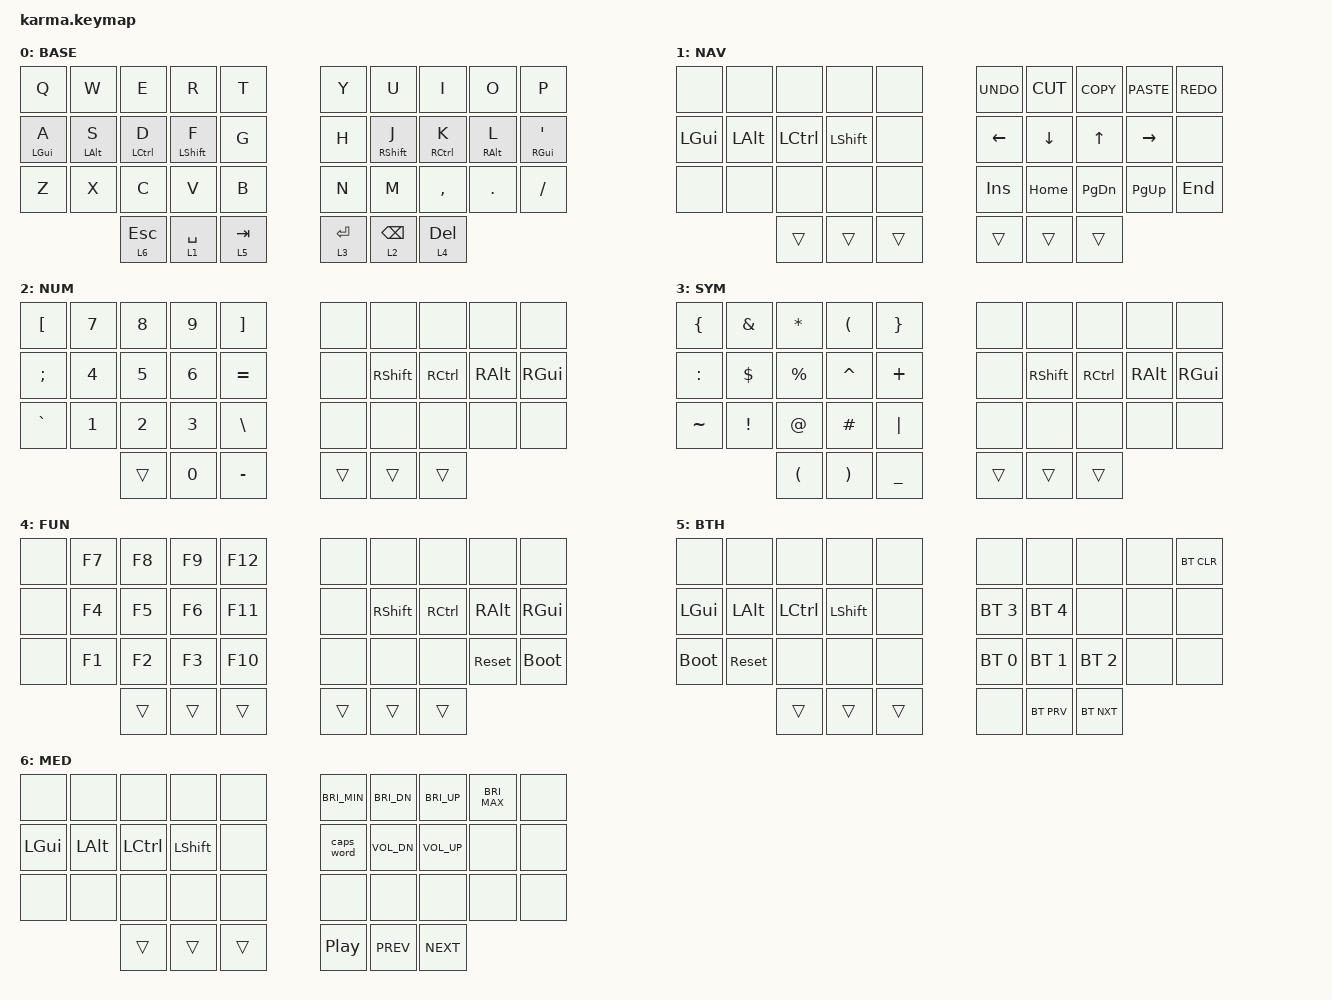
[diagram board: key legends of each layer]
#include <behaviors.dtsi>
#include <dt-bindings/zmk/bt.h>
#include <dt-bindings/zmk/keys.h>

#define ABC 0
#define NUM 1
#define SYM 2
#define FUN 3
#define NAV 4
#define MED 5
#define OPR 6

&mt {
    flavor = "balanced";
    quick-tap-ms = <150>;
    tapping-term-ms = <210>;
};

&caps_word { continue-list = <UNDERSCORE MINUS BACKSPACE DEL>; };

&lt {
    tapping-term-ms = <210>;
    quick-tap-ms = <200>;
};

/ {
    combos {
        compatible = "zmk,combos";

        combo_esc {
            timeout-ms = <50>;
            key-positions = <0 1>;
            bindings = <&kp ESC>;
        };
    };

    macros {
        gif: gif {
            label = "giphy";
            compatible = "zmk,behavior-macro";
            #binding-cells = <0>;
            bindings =
                <&macro_press>,
                <&kp LSHFT>,
                <&macro_tap>,
                <&kp N2>,
                <&macro_release>,
                <&kp LSHFT>,
                <&macro_tap>,
                <&kp G &kp I &kp F>;
        };
    };

    keymap {
        compatible = "zmk,keymap";

        base_layer {
            label = "BASE";

            // ┏━━━━━━━━━━━┳━━━━━━━━━━━┳━━━━━━━━━━━┳━━━━━━━━━━━┳━━━━━━━━━━━┓   ┏━━━━━━━━━━━┳━━━━━━━━━━━┳━━━━━━━━━━━┳━━━━━━━━━━━┳━━━━━━━━━━━┓
            // ┃     Q     ┃     W     ┃     F     ┃     P     ┃     B     ┃   ┃     J     ┃     L     ┃     U     ┃     Y     ┃     \     ┃
            // ┣━━━━━━━━━━━╋━━━━━━━━━━━╋━━━━━━━━━━━╋━━━━━━━━━━━╋━━━━━━━━━━━┫   ┣━━━━━━━━━━━╋━━━━━━━━━━━╋━━━━━━━━━━━╋━━━━━━━━━━━╋━━━━━━━━━━━┫
            // ┃     A     ┃     R     ┃     S     ┃     T     ┃     G     ┃   ┃     M     ┃     N     ┃     E     ┃     I     ┃     O     ┃
            // ┣━━━━━━━━━━━╋━━━━━━━━━━━╋━━━━━━━━━━━╋━━━━━━━━━━━╋━━━━━━━━━━━┫   ┣━━━━━━━━━━━╋━━━━━━━━━━━╋━━━━━━━━━━━╋━━━━━━━━━━━╋━━━━━━━━━━━┃
            // ┃     Z     ┃     X     ┃     C     ┃     D     ┃     V     ┃   ┃     K     ┃     H     ┃     ,     ┃     .     ┃     /     ┃ 
            // ┗━━━━━━━━━━━┻━━━━━━━━━━━╋━━━━━━━━━━━╋━━━━━━━━━━━╋━━━━━━━━━━━┫   ┣━━━━━━━━━━━╋━━━━━━━━━━━╋━━━━━━━━━━━╋━━━━━━━━━━━┻━━━━━━━━━━━┛
            //                         ┃    ESC    ┃    SPC    ┃    TAB    ┃   ┃    DEL    ┃   ENTER   ┃    BSPC   ┃
            //                         ┗━━━━━━━━━━━┻━━━━━━━━━━━┻━━━━━━━━━━━┛   ┗━━━━━━━━━━━┻━━━━━━━━━━━┻━━━━━━━━━━━┛

            bindings = <
&kp Q       &kp W       &kp E        &kp R        &kp T      &kp Y        &kp U            &kp I        &kp O       &kp P
&mt LGUI A  &mt LALT S  &mt LCTRL D  &mt LSHFT F  &kp G      &kp H        &mt RSHFT J      &mt RCTRL K  &mt RALT L  &mt RGUI SINGLE_QUOTE
&kp Z       &kp X       &kp C        &kp V        &kp B      &kp N        &kp M            &kp COMMA    &kp DOT     &kp FSLH
                        &lt 6 ESC    &lt 1 SPACE  &lt 5 TAB  &lt 3 ENTER  &lt 2 BACKSPACE  &lt 4 DEL
            >;
        };

        nav_layer {
            label = "NAV";

            // ┏━━━━━━━━━━━┳━━━━━━━━━━━┳━━━━━━━━━━━┳━━━━━━━━━━━┳━━━━━━━━━━━┓   ┏━━━━━━━━━━━┳━━━━━━━━━━━┳━━━━━━━━━━━┳━━━━━━━━━━━┳━━━━━━━━━━━┓
            // ┃           ┃           ┃           ┃           ┃           ┃   ┃    UNDO   ┃    CUT    ┃    COPY   ┃   PASTE   ┃    REDO   ┃
            // ┣━━━━━━━━━━━╋━━━━━━━━━━━╋━━━━━━━━━━━╋━━━━━━━━━━━╋━━━━━━━━━━━┫   ┣━━━━━━━━━━━╋━━━━━━━━━━━╋━━━━━━━━━━━╋━━━━━━━━━━━╋━━━━━━━━━━━┫
            // ┃   LGUI    ┃   LALT    ┃   LCTRL   ┃   LSHFT   ┃           ┃   ┃    CAPS   ┃    LEFT   ┃    DOWN   ┃     UP    ┃   RIGHT   ┃
            // ┣━━━━━━━━━━━╋━━━━━━━━━━━╋━━━━━━━━━━━╋━━━━━━━━━━━╋━━━━━━━━━━━┫   ┣━━━━━━━━━━━╋━━━━━━━━━━━╋━━━━━━━━━━━╋━━━━━━━━━━━╋━━━━━━━━━━━┃
            // ┃           ┃           ┃           ┃           ┃           ┃   ┃    INS    ┃    HOME   ┃   PG_DN   ┃   PG_UP   ┃    END    ┃
            // ┗━━━━━━━━━━━┻━━━━━━━━━━━╋━━━━━━━━━━━╋━━━━━━━━━━━╋━━━━━━━━━━━┫   ┣━━━━━━━━━━━╋━━━━━━━━━━━╋━━━━━━━━━━━╋━━━━━━━━━━━┻━━━━━━━━━━━┛
            //                         ┃           ┃           ┃           ┃   ┃    DEL    ┃   ENTER   ┃    BSPC   ┃
            //                         ┗━━━━━━━━━━━┻━━━━━━━━━━━┻━━━━━━━━━━━┛   ┗━━━━━━━━━━━┻━━━━━━━━━━━┻━━━━━━━━━━━┛

            bindings = <
&none     &none     &none      &none      &none   &kp K_UNDO  &kp K_CUT  &kp K_COPY  &kp K_PASTE  &kp K_REDO
&kp LGUI  &kp LALT  &kp LCTRL  &kp LSHFT  &none   &kp LEFT    &kp DOWN   &kp UP      &kp RIGHT    &none
&none     &none     &none      &none      &none   &kp INS     &kp HOME   &kp PG_DN   &kp PG_UP    &kp END
                    &trans     &trans     &trans  &trans      &trans     &trans
            >;
        };

        num_layer {
            label = "NUM";

            // ┏━━━━━━━━━━━┳━━━━━━━━━━━┳━━━━━━━━━━━┳━━━━━━━━━━━┳━━━━━━━━━━━┓   ┏━━━━━━━━━━━┳━━━━━━━━━━━┳━━━━━━━━━━━┳━━━━━━━━━━━┳━━━━━━━━━━━┓
            // ┃     `     ┃     7     ┃     8     ┃     9     ┃     =     ┃   ┃           ┃           ┃           ┃           ┃           ┃
            // ┣━━━━━━━━━━━╋━━━━━━━━━━━╋━━━━━━━━━━━╋━━━━━━━━━━━╋━━━━━━━━━━━┫   ┣━━━━━━━━━━━╋━━━━━━━━━━━╋━━━━━━━━━━━╋━━━━━━━━━━━╋━━━━━━━━━━━┫
            // ┃     (     ┃     4     ┃     5     ┃     6     ┃     )     ┃   ┃           ┃   RSHFT   ┃   RCTRL   ┃    RALT   ┃    RGUI   ┃
            // ┣━━━━━━━━━━━╋━━━━━━━━━━━╋━━━━━━━━━━━╋━━━━━━━━━━━╋━━━━━━━━━━━┃   ┣━━━━━━━━━━━╋━━━━━━━━━━━╋━━━━━━━━━━━╋━━━━━━━━━━━╋━━━━━━━━━━━┃
            // ┃     [     ┃     1     ┃     2     ┃     3     ┃     ]     ┃   ┃           ┃           ┃           ┃           ┃           ┃
            // ┗━━━━━━━━━━━┻━━━━━━━━━━━╋━━━━━━━━━━━╋━━━━━━━━━━━╋━━━━━━━━━━━┃   ┣━━━━━━━━━━━╋━━━━━━━━━━━╋━━━━━━━━━━━╋━━━━━━━━━━━┻━━━━━━━━━━━┛
            //                         ┃     '     ┃     0     ┃     -     ┃   ┃           ┃           ┃           ┃
            //                         ┗━━━━━━━━━━━┻━━━━━━━━━━━┻━━━━━━━━━━━┛   ┗━━━━━━━━━━━┻━━━━━━━━━━━┻━━━━━━━━━━━┛

            bindings = <
&kp LBKT       &kp N7  &kp N8  &kp N9  &kp RBKT   &none   &none      &none      &none     &none
&kp SEMICOLON  &kp N4  &kp N5  &kp N6  &kp EQUAL  &none   &kp RSHFT  &kp RCTRL  &kp RALT  &kp RGUI
&kp GRAVE      &kp N1  &kp N2  &kp N3  &kp BSLH   &none   &none      &none      &none     &none
                       &trans  &kp N0  &kp MINUS  &trans  &trans     &trans
            >;
        };

        sym_layer {
            label = "SYM";

            // ┏━━━━━━━━━━━┳━━━━━━━━━━━┳━━━━━━━━━━━┳━━━━━━━━━━━┳━━━━━━━━━━━┓   ┏━━━━━━━━━━━┳━━━━━━━━━━━┳━━━━━━━━━━━┳━━━━━━━━━━━┳━━━━━━━━━━━┓
            // ┃     ~     ┃     &     ┃     *     ┃     ;     ┃     +     ┃   ┃           ┃           ┃           ┃           ┃           ┃
            // ┣━━━━━━━━━━━╋━━━━━━━━━━━╋━━━━━━━━━━━╋━━━━━━━━━━━╋━━━━━━━━━━━┫   ┣━━━━━━━━━━━╋━━━━━━━━━━━╋━━━━━━━━━━━╋━━━━━━━━━━━╋━━━━━━━━━━━┫
            // ┃     {     ┃     $     ┃     %     ┃     ^     ┃     }     ┃   ┃           ┃   RSHFT   ┃   RCTRL   ┃    RALT   ┃    RGUI   ┃
            // ┣━━━━━━━━━━━╋━━━━━━━━━━━╋━━━━━━━━━━━╋━━━━━━━━━━━╋━━━━━━━━━━━┫   ┣━━━━━━━━━━━╋━━━━━━━━━━━╋━━━━━━━━━━━╋━━━━━━━━━━━╋━━━━━━━━━━━┃
            // ┃     <     ┃     !     ┃     @     ┃     #     ┃     >     ┃   ┃           ┃           ┃           ┃           ┃           ┃
            // ┗━━━━━━━━━━━┻━━━━━━━━━━━╋━━━━━━━━━━━╋━━━━━━━━━━━╋━━━━━━━━━━━┫   ┣━━━━━━━━━━━╋━━━━━━━━━━━╋━━━━━━━━━━━╋━━━━━━━━━━━┻━━━━━━━━━━━┛
            //                         ┃     "     ┃     :     ┃     _     ┃   ┃           ┃           ┃           ┃
            //                         ┗━━━━━━━━━━━┻━━━━━━━━━━━┻━━━━━━━━━━━┛   ┗━━━━━━━━━━━┻━━━━━━━━━━━┻━━━━━━━━━━━┛

            bindings = <
&kp LBRC   &kp AMPS  &kp ASTRK             &kp LPAR   &kp RBRC   &none   &none      &none      &none     &none
&kp COLON  &kp DLLR  &kp PRCNT             &kp CARET  &kp PLUS   &none   &kp RSHFT  &kp RCTRL  &kp RALT  &kp RGUI
&kp TILDE  &kp EXCL  &kp AT                &kp HASH   &kp PIPE   &none   &none      &none      &none     &none
                     &kp LEFT_PARENTHESIS  &kp RPAR   &kp UNDER  &trans  &trans     &trans
            >;
        };

        fun_layer {
            label = "FUN";

            // ┏━━━━━━━━━━━┳━━━━━━━━━━━┳━━━━━━━━━━━┳━━━━━━━━━━━┳━━━━━━━━━━━┓   ┏━━━━━━━━━━━┳━━━━━━━━━━━┳━━━━━━━━━━━┳━━━━━━━━━━━┳━━━━━━━━━━━┓
            // ┃           ┃     F7    ┃     F8    ┃     F9    ┃    F12    ┃   ┃           ┃           ┃           ┃           ┃           ┃
            // ┣━━━━━━━━━━━╋━━━━━━━━━━━╋━━━━━━━━━━━╋━━━━━━━━━━━╋━━━━━━━━━━━┫   ┣━━━━━━━━━━━╋━━━━━━━━━━━╋━━━━━━━━━━━╋━━━━━━━━━━━╋━━━━━━━━━━━┫
            // ┃           ┃     F4    ┃     F5    ┃     F6    ┃    F11    ┃   ┃           ┃   RSHFT   ┃   RCTRL   ┃    RALT   ┃    RGUI   ┃
            // ┣━━━━━━━━━━━╋━━━━━━━━━━━╋━━━━━━━━━━━╋━━━━━━━━━━━╋━━━━━━━━━━━┫   ┣━━━━━━━━━━━╋━━━━━━━━━━━╋━━━━━━━━━━━╋━━━━━━━━━━━╋━━━━━━━━━━━┃
            // ┃           ┃     F1    ┃     F2    ┃     F3    ┃    F10    ┃   ┃           ┃           ┃           ┃    RST    ┃   BTDLR   ┃
            // ┗━━━━━━━━━━━┻━━━━━━━━━━━╋━━━━━━━━━━━╋━━━━━━━━━━━╋━━━━━━━━━━━┫   ┣━━━━━━━━━━━╋━━━━━━━━━━━╋━━━━━━━━━━━╋━━━━━━━━━━━┻━━━━━━━━━━━┛
            //                         ┃           ┃           ┃           ┃   ┃           ┃           ┃           ┃
            //                         ┗━━━━━━━━━━━┻━━━━━━━━━━━┻━━━━━━━━━━━┛   ┗━━━━━━━━━━━┻━━━━━━━━━━━┻━━━━━━━━━━━┛

            bindings = <
&none  &kp F7  &kp F8  &kp F9  &kp F12  &none   &none      &none      &none       &none
&none  &kp F4  &kp F5  &kp F6  &kp F11  &none   &kp RSHFT  &kp RCTRL  &kp RALT    &kp RGUI
&none  &kp F1  &kp F2  &kp F3  &kp F10  &none   &none      &none      &sys_reset  &bootloader
               &trans  &trans  &trans   &trans  &trans     &trans
            >;
        };

        bluetooth_layer {
            label = "BTH";

            // ┏━━━━━━━━━━━┳━━━━━━━━━━━┳━━━━━━━━━━━┳━━━━━━━━━━━┳━━━━━━━━━━━┓   ┏━━━━━━━━━━━┳━━━━━━━━━━━┳━━━━━━━━━━━┳━━━━━━━━━━━┳━━━━━━━━━━━┓
            // ┃           ┃           ┃           ┃           ┃           ┃   ┃           ┃           ┃           ┃           ┃           ┃
            // ┣━━━━━━━━━━━╋━━━━━━━━━━━╋━━━━━━━━━━━╋━━━━━━━━━━━╋━━━━━━━━━━━┫   ┣━━━━━━━━━━━╋━━━━━━━━━━━╋━━━━━━━━━━━╋━━━━━━━━━━━╋━━━━━━━━━━━┫
            // ┃   LGUI    ┃   LALT    ┃   LCTRL   ┃   LSHFT   ┃           ┃   ┃    BT1    ┃    BT2    ┃    BT3    ┃    BT4    ┃    BT5    ┃
            // ┣━━━━━━━━━━━╋━━━━━━━━━━━╋━━━━━━━━━━━╋━━━━━━━━━━━╋━━━━━━━━━━━┫   ┣━━━━━━━━━━━╋━━━━━━━━━━━╋━━━━━━━━━━━╋━━━━━━━━━━━╋━━━━━━━━━━━┃
            // ┃   BTDLR   ┃    RST    ┃           ┃           ┃           ┃   ┃  BT CLR   ┃ BT CLRALL ┃           ┃           ┃           ┃
            // ┗━━━━━━━━━━━┻━━━━━━━━━━━╋━━━━━━━━━━━╋━━━━━━━━━━━╋━━━━━━━━━━━┫   ┣━━━━━━━━━━━╋━━━━━━━━━━━╋━━━━━━━━━━━╋━━━━━━━━━━━┻━━━━━━━━━━━┛
            //                         ┃           ┃           ┃           ┃   ┃           ┃           ┃           ┃
            //                         ┗━━━━━━━━━━━┻━━━━━━━━━━━┻━━━━━━━━━━━┛   ┗━━━━━━━━━━━┻━━━━━━━━━━━┻━━━━━━━━━━━┛

            bindings = <
&none        &none       &none      &none      &none   &none         &none         &none         &none  &bt BT_CLR
&kp LGUI     &kp LALT    &kp LCTRL  &kp LSHFT  &none   &bt BT_SEL 3  &bt BT_SEL 4  &none         &none  &none
&bootloader  &sys_reset  &none      &none      &none   &bt BT_SEL 0  &bt BT_SEL 1  &bt BT_SEL 2  &none  &none
                         &trans     &trans     &trans  &none         &bt BT_PRV    &bt BT_NXT
            >;
        };

        med_layer {
            label = "MED";

            // ┏━━━━━━━━━━━┳━━━━━━━━━━━┳━━━━━━━━━━━┳━━━━━━━━━━━┳━━━━━━━━━━━┓   ┏━━━━━━━━━━━┳━━━━━━━━━━━┳━━━━━━━━━━━┳━━━━━━━━━━━┳━━━━━━━━━━━┓
            // ┃           ┃           ┃           ┃           ┃           ┃   ┃   BR MIN  ┃   BR DN   ┃   PSCRN   ┃   BR UP   ┃   BR MAX  ┃
            // ┣━━━━━━━━━━━╋━━━━━━━━━━━╋━━━━━━━━━━━╋━━━━━━━━━━━╋━━━━━━━━━━━┫   ┣━━━━━━━━━━━╋━━━━━━━━━━━╋━━━━━━━━━━━╋━━━━━━━━━━━╋━━━━━━━━━━━┫
            // ┃   LGUI    ┃   LALT    ┃   LCTRL   ┃   LSHFT   ┃           ┃   ┃     RW    ┃    PREV   ┃    P/P    ┃    NEXT   ┃     FF    ┃
            // ┣━━━━━━━━━━━╋━━━━━━━━━━━╋━━━━━━━━━━━╋━━━━━━━━━━━╋━━━━━━━━━━━┫   ┣━━━━━━━━━━━╋━━━━━━━━━━━╋━━━━━━━━━━━╋━━━━━━━━━━━╋━━━━━━━━━━━┃
            // ┃           ┃           ┃           ┃           ┃           ┃   ┃           ┃   VOL DN  ┃    MUTE   ┃   VOL UP  ┃           ┃
            // ┗━━━━━━━━━━━┻━━━━━━━━━━━╋━━━━━━━━━━━╋━━━━━━━━━━━╋━━━━━━━━━━━┫   ┣━━━━━━━━━━━╋━━━━━━━━━━━╋━━━━━━━━━━━╋━━━━━━━━━━━┻━━━━━━━━━━━┛
            //                         ┃           ┃           ┃           ┃   ┃           ┃           ┃           ┃
            //                         ┗━━━━━━━━━━━┻━━━━━━━━━━━┻━━━━━━━━━━━┛   ┗━━━━━━━━━━━┻━━━━━━━━━━━┻━━━━━━━━━━━┛

            bindings = <
&none     &none     &none      &none      &none   &kp C_BRI_MIN     &kp C_BRI_DN  &kp C_BRI_UP  &kp C_BRI_MAX  &none
&kp LGUI  &kp LALT  &kp LCTRL  &kp LSHFT  &none   &caps_word        &kp C_VOL_DN  &kp C_VOL_UP  &none          &none
&none     &none     &none      &none      &none   &none             &none         &none         &none          &none
                    &trans     &trans     &trans  &kp C_PLAY_PAUSE  &kp C_PREV    &kp C_NEXT
            >;
        };
    };
};
